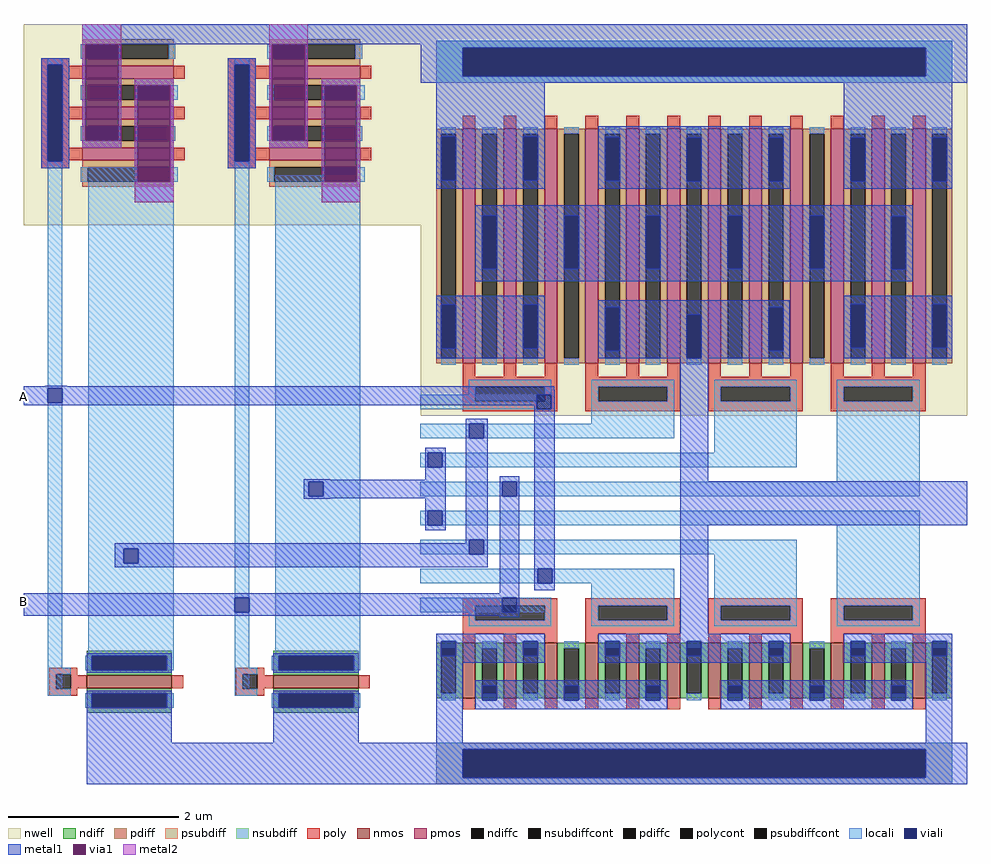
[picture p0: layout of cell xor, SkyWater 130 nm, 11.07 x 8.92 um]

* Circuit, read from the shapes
.subckt xor B A
XM1 CG4_0/N2 A VSS VSS sky130_fd_pr__nfet_01v8 w=1 l=0.15
XM2 CG4_0/N1 B VSS VSS sky130_fd_pr__nfet_01v8 w=1 l=0.15
XM3 n1 B VSS VSS sky130_fd_pr__nfet_01v8 w=0.65 l=0.15 m=3
XM4 CG4_0/OUT A n1 VSS sky130_fd_pr__nfet_01v8 w=0.65 l=0.15 m=3
XM5 n2 CG4_0/N2 CG4_0/OUT VSS sky130_fd_pr__nfet_01v8 w=0.65 l=0.15 m=3
XM6 VSS CG4_0/N1 n2 VSS sky130_fd_pr__nfet_01v8 w=0.65 l=0.15 m=3
XM7 VDD A CG4_0/N2 VDD sky130_fd_pr__pfet_01v8 w=1.07 l=0.15 m=3
XM8 VDD B CG4_0/N1 VDD sky130_fd_pr__pfet_01v8 w=1.07 l=0.15 m=3
XM9 n3 A VDD VDD sky130_fd_pr__pfet_01v8 w=2.75 l=0.15 m=3
XM10 CG4_0/OUT CG4_0/N2 n3 VDD sky130_fd_pr__pfet_01v8 w=2.75 l=0.15 m=3
XM11 n3 CG4_0/N1 CG4_0/OUT VDD sky130_fd_pr__pfet_01v8 w=2.75 l=0.15 m=3
XM12 VDD B n3 VDD sky130_fd_pr__pfet_01v8 w=2.75 l=0.15 m=3
.ends

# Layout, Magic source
magic
tech sky130B
magscale 1 2
<< nwell >>
rect -902 1668 1312 1671
rect -902 1199 756 1668
<< locali >>
rect -845 816 -811 1333
rect -845 95 -811 782
rect -750 440 -550 1335
rect -750 406 -667 440
rect -633 406 -550 440
rect -750 189 -550 406
rect -407 325 -373 1333
rect -407 95 -373 291
rect -312 597 -112 1316
rect 242 699 276 733
rect 144 631 178 665
rect 347 631 381 665
rect -312 563 -233 597
rect -199 563 -112 597
rect 44 563 78 597
rect -312 189 -112 563
rect 347 495 381 529
rect 151 359 185 393
rect 44 291 78 325
<< viali >>
rect -845 782 -811 816
rect -667 406 -633 440
rect -407 291 -373 325
rect 302 767 336 801
rect 144 699 178 733
rect 46 631 80 665
rect -233 563 -199 597
rect 221 563 255 597
rect 46 495 80 529
rect 144 427 178 461
rect 304 359 338 393
rect 221 291 255 325
<< metal1 >>
rect -673 1668 1312 1671
rect -764 1623 1312 1668
rect -851 821 -801 822
rect -902 816 343 821
rect -902 782 -845 816
rect -811 813 343 816
rect -811 801 344 813
rect -811 782 302 801
rect -902 776 302 782
rect 296 767 302 776
rect 336 767 344 801
rect 135 733 187 745
rect 135 699 144 733
rect 178 699 187 733
rect 40 665 88 677
rect 40 631 46 665
rect 80 631 88 665
rect -245 602 -183 603
rect 40 602 88 631
rect -245 597 88 602
rect -245 563 -233 597
rect -199 563 88 597
rect -245 558 88 563
rect -245 557 -183 558
rect 40 529 88 558
rect 40 495 46 529
rect 80 495 88 529
rect 40 483 88 495
rect 135 461 187 699
rect 135 453 144 461
rect -688 440 144 453
rect -688 406 -667 440
rect -633 427 144 440
rect 178 427 187 461
rect -633 406 187 427
rect -688 396 187 406
rect 215 597 261 610
rect 215 563 221 597
rect 255 563 261 597
rect 215 336 261 563
rect 296 393 344 767
rect 296 359 304 393
rect 338 359 344 393
rect 296 342 344 359
rect -902 325 261 336
rect -902 291 -407 325
rect -373 291 221 325
rect 255 291 261 325
rect -902 283 261 291
rect 215 279 261 283
rect -754 -15 -554 61
rect -316 -15 -116 68
rect -754 -112 54 -15
use CG4  CG4_0
transform 1 0 28 0 1 746
box 1 -858 1284 922
use efepmos_W107-L15-F3  efepmos_W107-L15-F3_0 ~/Documents/Dersler/VLSI/vlsi_sky130b/design/mag/inv
transform 0 1 -219 -1 0 1462
box -209 -207 209 169
use efepmos_W107-L15-F3  efepmos_W107-L15-F3_1
transform 0 1 -657 -1 0 1462
box -209 -207 209 169
use sky130_fd_pr__nfet_01v8_5D68BK  sky130_fd_pr__nfet_01v8_5D68BK_0
transform 0 -1 -247 1 0 128
box -73 -157 73 157
use sky130_fd_pr__nfet_01v8_BQTKEQ  sky130_fd_pr__nfet_01v8_BQTKEQ_0
transform 0 1 -685 -1 0 128
box -73 -157 73 157
<< labels >>
rlabel metal1 -902 317 -902 317 3 B
port 1 e
rlabel metal1 -902 797 -902 797 3 A
port 2 e
<< end >>

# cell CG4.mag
magic
tech sky130B
magscale 1 2
<< nwell >>
rect 2 715 1284 922
<< psubdiff >>
rect 38 -777 1248 -761
rect 38 -843 100 -777
rect 1186 -843 1248 -777
rect 38 -858 1248 -843
<< nsubdiff >>
rect 38 869 1248 886
rect 38 803 100 869
rect 1186 803 1248 869
rect 38 787 1248 803
<< psubdiffcont >>
rect 100 -843 1186 -777
<< nsubdiffcont >>
rect 100 803 1186 869
<< locali >>
rect 38 869 1248 886
rect 38 803 100 869
rect 1186 803 1248 869
rect 38 787 1248 803
rect 1 21 308 55
rect 402 -13 596 24
rect 1 -47 596 -13
rect 690 -81 884 24
rect 1 -115 884 -81
rect 978 -149 1172 24
rect 1 -183 1172 -149
rect 1 -251 1172 -217
rect 1 -319 884 -285
rect 1 -387 596 -353
rect 1 -455 308 -421
rect 402 -428 596 -387
rect 690 -424 884 -319
rect 978 -424 1172 -251
rect 38 -777 1248 -761
rect 38 -843 100 -777
rect 1186 -843 1248 -777
rect 38 -858 1248 -843
<< viali >>
rect 100 803 1186 869
rect 50 559 84 661
rect 242 559 276 661
rect 434 557 468 659
rect 626 556 660 658
rect 818 556 852 658
rect 1010 556 1044 658
rect 1202 556 1236 658
rect 146 351 180 475
rect 338 351 372 475
rect 530 351 564 475
rect 722 351 756 475
rect 914 351 948 475
rect 1106 350 1140 474
rect 50 164 84 266
rect 242 164 276 266
rect 434 158 468 260
rect 626 141 660 243
rect 818 158 852 260
rect 1010 165 1044 267
rect 1202 165 1236 267
rect 50 -557 84 -523
rect 242 -557 276 -523
rect 434 -557 468 -523
rect 626 -557 660 -523
rect 818 -557 852 -523
rect 1010 -557 1044 -523
rect 1202 -557 1236 -523
rect 146 -661 180 -627
rect 338 -661 372 -627
rect 530 -662 564 -628
rect 722 -661 756 -627
rect 914 -661 948 -627
rect 1106 -661 1140 -627
rect 100 -843 1186 -777
<< metal1 >>
rect 2 869 1284 886
rect 2 803 100 869
rect 1186 803 1284 869
rect 2 787 1284 803
rect 38 661 292 787
rect 38 559 50 661
rect 84 559 242 661
rect 276 559 292 661
rect 38 538 292 559
rect 418 659 868 685
rect 418 557 434 659
rect 468 658 868 659
rect 468 557 626 658
rect 418 556 626 557
rect 660 556 818 658
rect 852 556 868 658
rect 418 538 868 556
rect 994 658 1248 787
rect 994 556 1010 658
rect 1044 556 1202 658
rect 1236 556 1248 658
rect 994 538 1248 556
rect 130 475 1156 500
rect 130 351 146 475
rect 180 351 338 475
rect 372 351 530 475
rect 564 351 722 475
rect 756 351 914 475
rect 948 474 1156 475
rect 948 351 1106 474
rect 130 350 1106 351
rect 1140 350 1156 474
rect 130 321 1156 350
rect 38 266 292 288
rect 38 164 50 266
rect 84 164 242 266
rect 276 164 292 266
rect 38 141 292 164
rect 418 260 867 277
rect 418 158 434 260
rect 468 243 818 260
rect 468 158 626 243
rect 418 141 626 158
rect 660 158 818 243
rect 852 158 867 260
rect 660 141 867 158
rect 994 267 1249 288
rect 994 165 1010 267
rect 1044 165 1202 267
rect 1236 165 1249 267
rect 994 141 1249 165
rect 610 -148 676 141
rect 610 -251 1284 -148
rect 610 -505 676 -251
rect 38 -523 292 -505
rect 38 -557 50 -523
rect 84 -557 242 -523
rect 276 -557 292 -523
rect 38 -573 292 -557
rect 418 -523 868 -505
rect 418 -557 434 -523
rect 468 -557 626 -523
rect 660 -557 818 -523
rect 852 -557 868 -523
rect 418 -573 868 -557
rect 994 -523 1248 -505
rect 994 -557 1010 -523
rect 1044 -557 1202 -523
rect 1236 -557 1248 -523
rect 994 -573 1248 -557
rect 38 -761 100 -573
rect 130 -627 580 -615
rect 130 -661 146 -627
rect 180 -661 338 -627
rect 372 -628 580 -627
rect 372 -661 530 -628
rect 130 -662 530 -661
rect 564 -662 580 -628
rect 130 -683 580 -662
rect 706 -627 1156 -615
rect 706 -661 722 -627
rect 756 -661 914 -627
rect 948 -661 1106 -627
rect 1140 -661 1156 -627
rect 706 -683 1156 -661
rect 1186 -761 1248 -573
rect 2 -777 1284 -761
rect 2 -843 100 -777
rect 1186 -843 1284 -777
rect 2 -858 1284 -843
use nfet_3_200_15  nfet_3_200_15_0
transform -1 0 211 0 -1 -592
box -173 -170 173 91
use nfet_3_200_15  nfet_3_200_15_1
transform -1 0 499 0 -1 -592
box -173 -170 173 91
use nfet_3_200_15  nfet_3_200_15_2
transform -1 0 1075 0 -1 -592
box -173 -170 173 91
use nfet_3_200_15  nfet_3_200_15_3
transform -1 0 787 0 -1 -592
box -173 -170 173 91
use pfet_3_825_15  pfet_3_825_15_0
transform 1 0 211 0 1 404
box -209 -398 209 311
use pfet_3_825_15  pfet_3_825_15_1
transform 1 0 499 0 1 404
box -209 -398 209 311
use pfet_3_825_15  pfet_3_825_15_2
transform 1 0 787 0 1 404
box -209 -398 209 311
use pfet_3_825_15  pfet_3_825_15_3
transform 1 0 1075 0 1 404
box -209 -398 209 311
<< labels >>
flabel metal1 602 818 756 870 1 FreeSerif 80 0 0 0 VDD
port 1 n
flabel metal1 592 -835 746 -783 1 FreeSerif 80 0 0 0 VSS
port 2 n
flabel locali 13 -243 34 -223 1 FreeSerif 80 0 0 0 N1
port 3 n
flabel locali 12 -311 33 -291 1 FreeSerif 80 0 0 0 N2
port 4 n
flabel locali 12 -380 33 -360 1 FreeSerif 80 0 0 0 N3
port 5 n
flabel locali 12 -448 33 -428 1 FreeSerif 80 0 0 0 N4
port 6 n
flabel locali 13 -177 34 -157 1 FreeSerif 80 0 0 0 P1
port 7 n
flabel locali 13 -108 34 -88 1 FreeSerif 80 0 0 0 P2
port 8 n
flabel locali 13 -39 34 -19 1 FreeSerif 80 0 0 0 P3
port 9 n
flabel locali 13 28 34 48 1 FreeSerif 80 0 0 0 P4
port 10 n
flabel metal1 1183 -228 1257 -164 1 FreeSerif 80 0 0 0 OUT
port 11 n
<< end >>

# cell efepmos_W107-L15-F3: kit device sky130_fd_pr__pfet_01v8, w 1.07 l 0.15 m 1 nf 3 diffcov 100 polycov 100 guard 0 glc 1 grc 1 gtc 1 gbc 1 tbcov 100 rlcov 100 topc 0 botc 0 poverlap 0 doverlap 1 lmin 0.15 wmin 0.42 compatible {sky130_fd_pr__pfet_01v8 sky130_fd_pr__pfet_01v8_lvt sky130_fd_pr__pfet_01v8_hvt sky130_fd_pr__pfet_g5v0d10v5} full_metal 1 viasrc 100 viadrn 100 viagate 100 viagb 0 viagr 0 viagl 0 viagt 0

# cell sky130_fd_pr__nfet_01v8_5D68BK: kit device sky130_fd_pr__nfet_01v8, w 1 l 0.150 m 1 nf 1 diffcov 100 polycov 100 guard 0 glc 1 grc 1 gtc 1 gbc 1 tbcov 100 rlcov 100 topc 1 botc 0 poverlap 0 doverlap 1 lmin 0.15 wmin 0.42 compatible {sky130_fd_pr__nfet_01v8 sky130_fd_pr__nfet_01v8_lvt sky130_fd_bs_flash__special_sonosfet_star sky130_fd_pr__nfet_g5v0d10v5 sky130_fd_pr__nfet_05v0_nvt sky130_fd_pr__nfet_03v3_nvt} full_metal 1 viasrc 100 viadrn 100 viagate 0 viagb 0 viagr 0 viagl 0 viagt 0

# cell sky130_fd_pr__nfet_01v8_BQTKEQ: kit device sky130_fd_pr__nfet_01v8, w 1 l 0.150 m 1 nf 1 diffcov 100 polycov 100 guard 0 glc 1 grc 1 gtc 1 gbc 1 tbcov 100 rlcov 100 topc 0 botc 1 poverlap 0 doverlap 1 lmin 0.15 wmin 0.42 compatible {sky130_fd_pr__nfet_01v8 sky130_fd_pr__nfet_01v8_lvt sky130_fd_bs_flash__special_sonosfet_star sky130_fd_pr__nfet_g5v0d10v5 sky130_fd_pr__nfet_05v0_nvt sky130_fd_pr__nfet_03v3_nvt} full_metal 1 viasrc 100 viadrn 100 viagate 0 viagb 0 viagr 0 viagl 0 viagt 0

# cell nfet_3_200_15: kit device sky130_fd_pr__nfet_01v8, w 0.65 l 0.150 m 1 nf 3 diffcov 100 polycov 100 guard 0 glc 1 grc 1 gtc 1 gbc 1 tbcov 100 rlcov 100 topc 1 botc 0 poverlap 0 doverlap 1 lmin 0.15 wmin 0.42 class mosfet compatible {sky130_fd_pr__nfet_01v8 sky130_fd_pr__nfet_01v8_lvt sky130_fd_bs_flash__special_sonosfet_star sky130_fd_pr__nfet_g5v0d10v5 sky130_fd_pr__nfet_05v0_nvt sky130_fd_pr__nfet_03v3_nvt} full_metal 1 viasrc 100 viadrn 100 viagate 100 viagb 0 viagr 0 viagl 0 viagt 0

# cell pfet_3_825_15: kit device sky130_fd_pr__pfet_01v8, w 2.75 l 0.15 m 1 nf 3 diffcov 100 polycov 100 guard 0 glc 1 grc 1 gtc 1 gbc 1 tbcov 100 rlcov 100 topc 1 botc 0 poverlap 0 doverlap 1 lmin 0.15 wmin 0.42 class mosfet compatible {sky130_fd_pr__pfet_01v8 sky130_fd_pr__pfet_01v8_lvt sky130_fd_pr__pfet_01v8_hvt sky130_fd_pr__pfet_g5v0d10v5} full_metal 1 viasrc 100 viadrn 100 viagate 100 viagb 0 viagr 0 viagl 0 viagt 0
